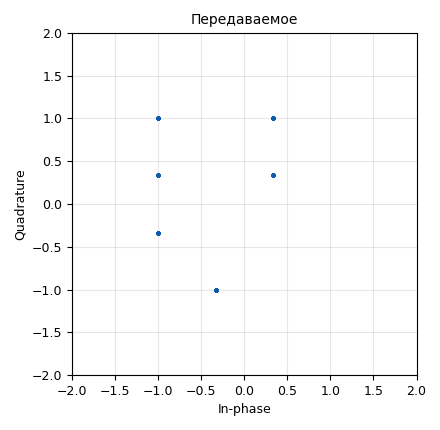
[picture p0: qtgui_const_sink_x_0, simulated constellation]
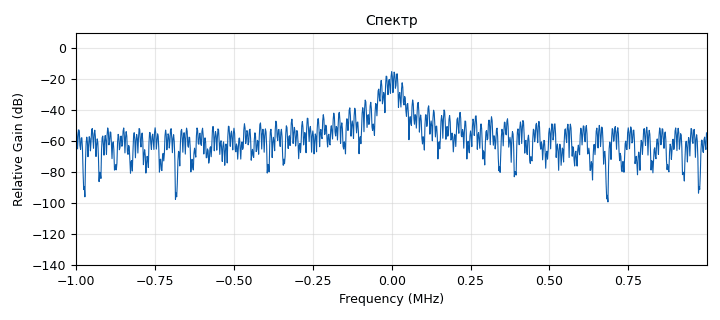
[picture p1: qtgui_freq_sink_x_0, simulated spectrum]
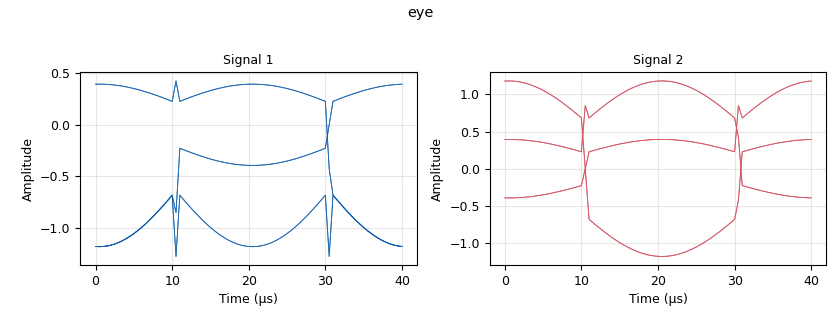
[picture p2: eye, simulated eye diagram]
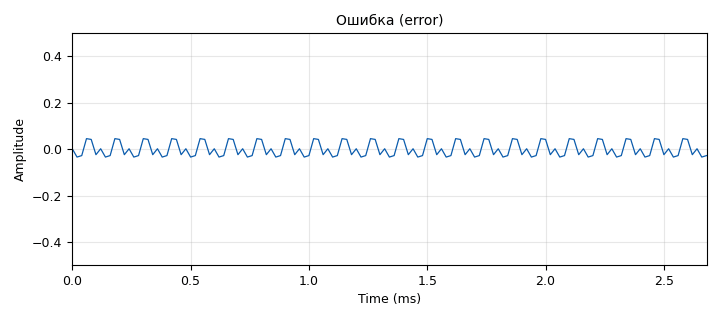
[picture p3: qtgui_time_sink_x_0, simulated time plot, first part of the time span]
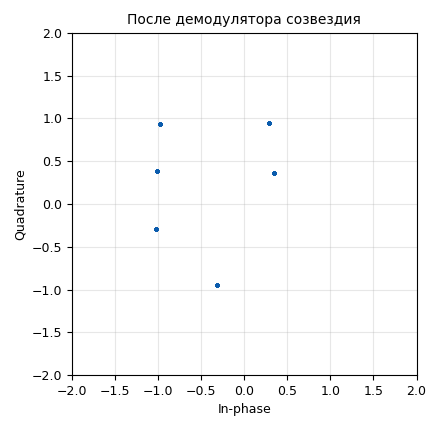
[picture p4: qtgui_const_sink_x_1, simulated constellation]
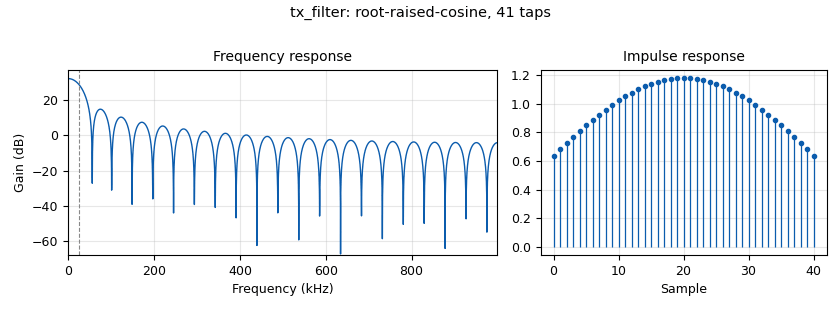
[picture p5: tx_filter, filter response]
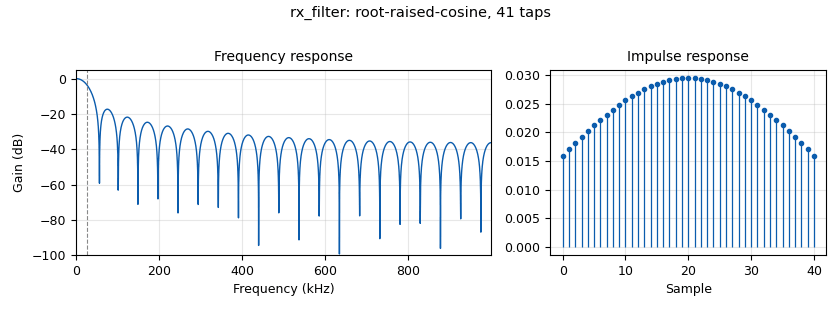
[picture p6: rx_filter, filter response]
options:
  parameters:
    author: Lab5
    generate_options: qt_gui
    id: lab6_1_8_7_16qam_several
    output_language: python
    title: 'ЛР6 п.1.8.7  16QAM: несколько значений'
  states: {}

blocks:
- name: samp_rate
  id: variable
  parameters:
    value: 2e6
  states: {}
- name: M
  id: variable
  parameters:
    value: '16'
  states: {}
- name: symb_rate
  id: variable
  parameters:
    value: 50e3
  states: {}
- name: rrc
  id: variable_rrc_filter_taps
  parameters:
    gain: '40'
    samp_rate: samp_rate
    alpha: '0.4'
    ntaps: '40'
    sym_rate: symb_rate
  states: {}
- name: rrc_1
  id: variable_rrc_filter_taps
  parameters:
    gain: '1'
    samp_rate: samp_rate
    alpha: '0.4'
    ntaps: '40'
    sym_rate: symb_rate
  states: {}
- name: QAM16
  id: variable_constellation
  parameters:
    sym_map: list(range(M))
    const_points: '[a+1j*b for a in [x-1.5 for x in range(4)] for b in [x-1.5 for x in range(4)]]'
    rot_sym: '4'
    dims: '1'
    normalization: digital.constellation.AMPLITUDE_NORMALIZATION
    precision: '8'
    type: calcdist
  states: {}
- name: src
  id: blocks_vector_source_x
  parameters:
    vector: (0x12, 0x34, 0xAB)
    repeat: 'True'
    type: byte
  states: {}
- name: blocks_throttle2_0
  id: blocks_throttle2
  parameters:
    samples_per_second: symb_rate
    type: byte
  states: {}
- name: p2u
  id: blocks_packed_to_unpacked_xx
  parameters:
    bits_per_chunk: '4'
    type: byte
    endianness: gr.GR_MSB_FIRST
  states: {}
- name: chunks2sym
  id: digital_chunks_to_symbols_xx
  parameters:
    dimension: '1'
    in_type: byte
    out_type: complex
    symbol_table: QAM16.points()
  states: {}
- name: qtgui_const_sink_x_0
  id: qtgui_const_sink_x
  parameters:
    type: complex
    name: '"Передаваемое"'
    size: '1024'
    grid: 'True'
    tr_slope: qtgui.TRIG_MODE_POS
  states: {}
- name: tx_filter
  id: interp_fir_filter_xxx
  parameters:
    interp: int(samp_rate/symb_rate)
    type: ccc
    taps: rrc
  states: {}
- name: F
  id: variable_qtgui_range
  parameters:
    value: '0'
    start: '0'
    stop: '200000.0'
    step: '100'
    label: '"Частотная расстройка, Гц"'
  states: {}
- name: Noise
  id: variable_qtgui_range
  parameters:
    value: '0'
    start: '0'
    stop: '5'
    step: '0.01'
    label: '"СКО шума"'
  states: {}
- name: channel
  id: channels_channel_model
  parameters:
    noise_voltage: Noise
    freq_offset: F/samp_rate
    epsilon: '1.0'
    taps: '1.0'
    seed: '0'
  states: {}
- name: vsink
  id: virtual_sink
  parameters:
    stream_id: QAM
  states: {}
- name: vsrc
  id: virtual_source
  parameters:
    stream_id: QAM
  states: {}
- name: qtgui_freq_sink_x_0
  id: qtgui_freq_sink_x
  parameters:
    type: complex
    name: '"Спектр"'
    fftsize: '1024'
    fc: '0'
    bw: samp_rate
    grid: 'True'
    average: '0.2'
  states: {}
- name: eye
  id: qtgui_eye_sink_x
  parameters:
    type: complex
    size: '1024'
    samp_per_symbol: int(samp_rate/symb_rate)
    srate: samp_rate
    grid: 'True'
    autoscale: 'True'
    tr_slope: qtgui.TRIG_MODE_POS
  states: {}
- name: rx_filter
  id: fir_filter_xxx
  parameters:
    decim: int(samp_rate/symb_rate)
    type: ccc
    taps: rrc_1
  states: {}
- name: receiver
  id: digital_constellation_receiver_cb
  parameters:
    constellation: QAM16
    loop_bw: '0.0226'
    fmin: '-0.503'
    fmax: '0.503'
  states: {}
- name: qtgui_time_sink_x_0
  id: qtgui_time_sink_x
  parameters:
    type: float
    name: '"Ошибка (error)"'
    size: '1024'
    srate: symb_rate
    grid: 'True'
    ymin: '-0.5'
    ymax: '0.5'
    tr_slope: qtgui.TRIG_MODE_POS
  states: {}
- name: null_sink
  id: blocks_null_sink
  parameters:
    num_inputs: '3'
    type: float
  states: {}
- name: qtgui_const_sink_x_1
  id: qtgui_const_sink_x
  parameters:
    type: complex
    name: '"После демодулятора созвездия"'
    size: '1024'
    grid: 'True'
    tr_slope: qtgui.TRIG_MODE_POS
  states: {}
- name: number
  id: qtgui_number_sink
  parameters:
    name: '"Принятый символ"'
    min: '0'
    max: M
    type: byte
    graph_type: qtgui.NUM_GRAPH_HORIZ
  states: {}

connections:
- [src, '0', blocks_throttle2_0, '0']
- [blocks_throttle2_0, '0', p2u, '0']
- [p2u, '0', chunks2sym, '0']
- [chunks2sym, '0', qtgui_const_sink_x_0, '0']
- [chunks2sym, '0', tx_filter, '0']
- [tx_filter, '0', channel, '0']
- [channel, '0', vsink, '0']
- [vsrc, '0', qtgui_freq_sink_x_0, '0']
- [vsrc, '0', eye, '0']
- [vsrc, '0', rx_filter, '0']
- [rx_filter, '0', receiver, '0']
- [receiver, '1', qtgui_time_sink_x_0, '0']
- [receiver, '1', null_sink, '0']
- [receiver, '2', null_sink, '1']
- [receiver, '3', null_sink, '2']
- [receiver, '4', qtgui_const_sink_x_1, '0']
- [receiver, '0', number, '0']

metadata:
  file_format: 1
  grc_version: 3.10.12.0
